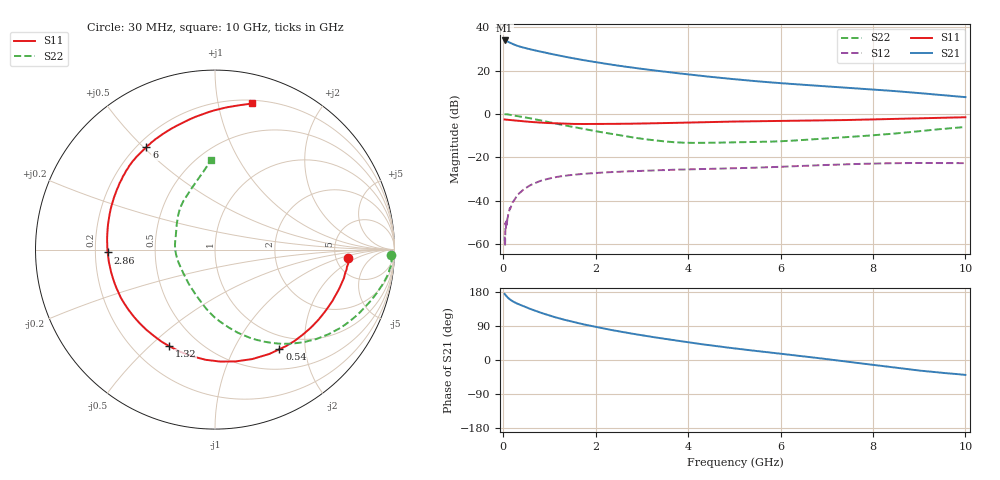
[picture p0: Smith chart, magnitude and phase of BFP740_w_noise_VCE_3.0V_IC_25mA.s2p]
! Infineon Technologies  Discrete & RF Semiconductors
! BFP740
! VCE =  3.0 V,  IC =  25 mA
! Common Emitter S-Parameters:  Jan 2016
# GHz  S  MA  R  50
!  f  S11  S21  S12  S22
! GHz  MAG  ANG  MAG  ANG  MAG  ANG  MAG  ANG
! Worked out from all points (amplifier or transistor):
!   229 points, 30 MHz to 10 GHz, reference 50 ohm
!   highest |S21| = 33.8 dB at 30 MHz (marker M1)
!   |S21| within 3 dB of that: start of sweep to 387.2 MHz
!   unconditionally stable (mu >= 1): 6.172 GHz to 6.278 GHz; 6.312 GHz to end of sweep
!   at 280 MHz: K = 0.27, MSG = 34.9 dB, |S12| = -38.2 dB
!   at 1.78 GHz: K = 0.48, MSG = 26.1 dB, |S12| = -27.6 dB
!   at 10 GHz: K = 1.00, MAG = 14.8 dB, |S12| = -22.7 dB
!   lowest NFmin = 0.78 dB at 450 MHz
!   S11 on the Smith chart (normalised r, x): 30 MHz: 6.53, -1.37; 540 MHz: 0.78, -1.54; 1.32 GHz: 0.35, -0.58; 2.86 GHz: 0.25, -0.01; 6 GHz: 0.24, +0.51; 10 GHz: 0.23, +1.26
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0.03  0.7444 -3.6  49.25 174.5  0.0015 109.2  0.9834 -1.8
0.06  0.7415 -7.5  48.3 169.8  0.0024 84.1  0.9837 -4.7
0.11  0.7325 -13.6  45.76 163.4  0.005 84.3  0.9691 -9.0
0.15  0.7239 -18.2  43.59 159.3  0.0065 81.2  0.9528 -11.9
0.195  0.7146 -23.1  41.33 155.6  0.0087 76.5  0.9343 -14.9
0.26  0.7026 -29.9  38.65 151.3  0.0112 74.7  0.9095 -18.8
0.34  0.6903 -38.0  36.05 146.8  0.0147 72.3  0.8806 -23.3
0.54  0.661 -57.1  31.62 137.0  0.0213 63.4  0.8085 -33.9
0.7  0.6441 -71.3  28.88 129.7  0.0259 57.0  0.751 -41.7
0.9  0.6244 -87.4  25.97 121.3  0.0307 50.5  0.6789 -50.5
1.1  0.6081 -101.7  23.38 113.7  0.0345 45.4  0.6109 -58.4
1.32  0.5951 -115.5  20.94 106.3  0.0374 40.4  0.5475 -66.0
1.7  0.587 -135.5  17.63 95.1  0.0413 33.7  0.4579 -77.5
2.2  0.589 -156.7  14.39 82.4  0.0447 27.9  0.3685 -91.9
2.86  0.5982 -178.5  11.42 68.1  0.0482 22.2  0.282 -110.2
3.4  0.6123 166.8  9.654 57.6  0.0507 18.7  0.2387 -128.3
4.2  0.6403 148.7  7.71 43.3  0.0534 14.5  0.2157 -157.4
5.1  0.67 134.2  6.166 29.3  0.0564 10.8  0.2227 177.1
6  0.6868 123.8  5.118 16.6  0.0607 8.1  0.2349 157.8
6.8  0.7061 114.6  4.46 5.3  0.0656 4.0  0.2627 143.2
8.4  0.7665 92.8  3.405 -18.9  0.0732 -7.2  0.348 115.1
10  0.8397 75.8  2.437 -39.3  0.0735 -17.0  0.5001 92.8
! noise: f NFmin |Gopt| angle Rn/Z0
0.45  0.78  0.07  178  0.26
0.9  0.79  0.08  -174  0.26
1.5  0.81  0.08  -169  0.25
1.9  0.82  0.09  -163  0.24
2.4  0.85  0.09  -156  0.23
3.5  0.95  0.1  -144  0.21
5.5  1.11  0.22  -105  0.19
10  1.46  0.52  -65  0.28
